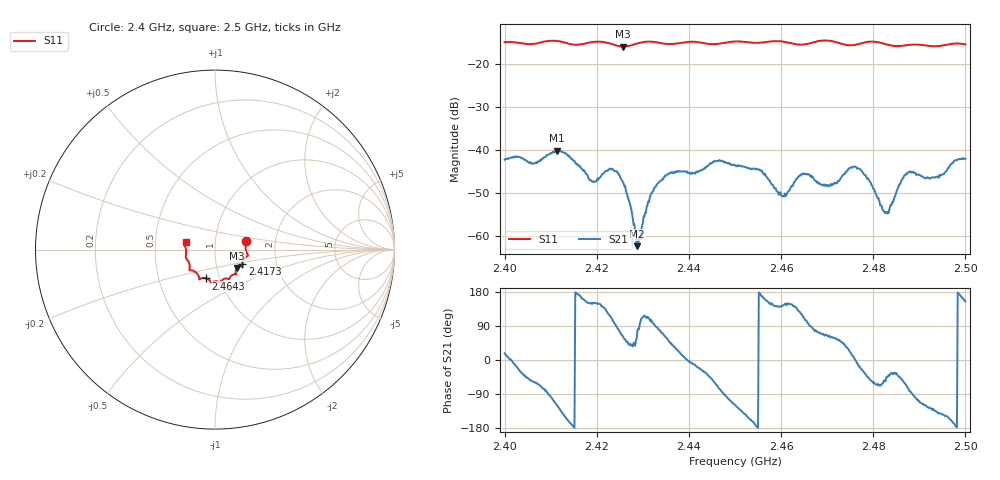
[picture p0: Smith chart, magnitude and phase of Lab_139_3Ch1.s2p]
# Hz S RI R 50
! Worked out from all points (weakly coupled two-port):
!   601 points, 2.4 GHz to 2.5 GHz, reference 50 ohm
!   highest |S21| = -40.14 dB at 2.4113 GHz (marker M1); lowest = -62.3 dB at 2.4287 GHz (marker M2)
!   lowest |S11| = -15.9 dB at 2.4257 GHz (marker M3), VSWR 1.38, Z = 62.4 - j13.1 ohm
!   |S11| at or under -10 dB: start of sweep to end of sweep
!   S12 and S22 are empty: the file has one direction only
!   S11 on the Smith chart (normalised r, x): 2.4 GHz: 1.41, +0.14; 2.4173 GHz: 1.34, -0.23; 2.4643 GHz: 0.86, -0.28; 2.5 GHz: 0.72, +0.06
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2.4e9  0.1731 0.0492  0.00738 0.00232  0 0  0 0
2.4065e9  0.1721 -0.00453  0.00363 -0.00609  0 0  0 0
2.411333e9  0.1824 -0.0356  -0.00476 -0.00862  0 0  0 0
2.416667e9  0.1528 -0.0744  -0.00588 0.00176  0 0  0 0
2.417333e9  0.1521 -0.0818  -0.00532 0.0021  0 0  0 0
2.4195e9  0.1541 -0.0965  -0.00372 0.00213  0 0  0 0
2.423167e9  0.1441 -0.0937  -0.00221 0.00551  0 0  0 0
2.425667e9  0.1226 -0.1024  0.00196 0.00379  0 0  0 0
2.428667e9  0.1155 -0.129  0.000418 0.000642  0 0  0 0
2.433333e9  0.113 -0.1369  0.00059 0.0041  0 0  0 0
2.446167e9  0.0468 -0.1652  0.00284 -0.00695  0 0  0 0
2.45e9  0.0294 -0.1809  -0.0032 -0.00579  0 0  0 0
2.455333e9  -0.00117 -0.1771  -0.00595 0.0004  0 0  0 0
2.4605e9  -0.0247 -0.1807  -0.00235 0.00168  0 0  0 0
2.464333e9  -0.0499 -0.1605  -0.00264 0.00435  0 0  0 0
2.466667e9  -0.0757 -0.1597  0.000287 0.00484  0 0  0 0
2.470667e9  -0.0871 -0.1648  0.002 0.00336  0 0  0 0
2.4765e9  -0.1216 -0.1175  0.006 -0.000974  0 0  0 0
2.483333e9  -0.1408 -0.0899  0.00142 -0.00118  0 0  0 0
2.4875e9  -0.1577 -0.0533  0.00156 -0.00521  0 0  0 0
2.493667e9  -0.1611 -0.00584  -0.00354 -0.00343  0 0  0 0
2.5e9  -0.1641 0.0419  -0.00716 0.00342  0 0  0 0
